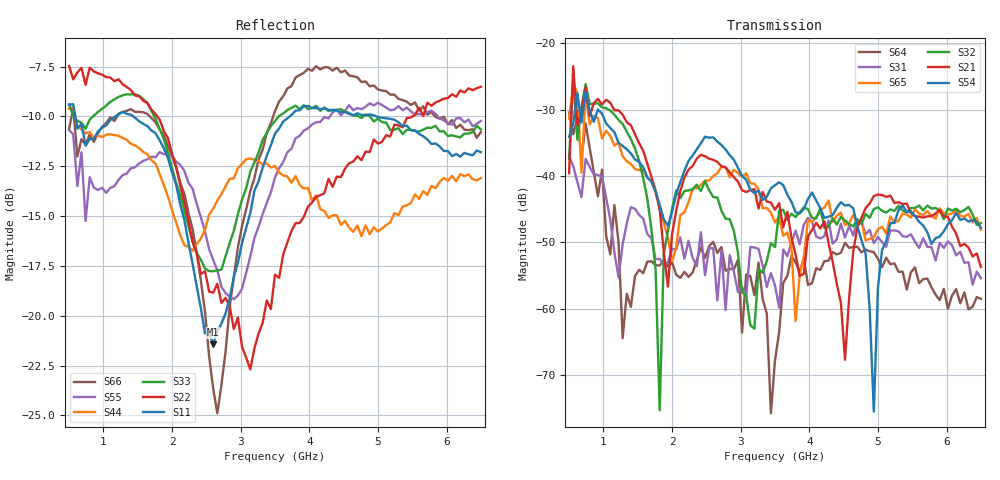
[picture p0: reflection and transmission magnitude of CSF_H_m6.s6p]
!Keysight Technologies,M9804A,MY58100912,A.14.10.03
!Date: Thursday, April 27, 2023 10:28:33
!Correction: S11(C  6-Port  )
!S12(C  6-Port  )
!S13(C  6-Port  )
!S14(C  6-Port  )
!S15(C  6-Port  )
!S16(C  6-Port  )
!S21(C  6-Port  )
!S22(C  6-Port  )
!S23(C  6-Port  )
!S24(C  6-Port  )
!S25(C  6-Port  )
!S26(C  6-Port  )
!S31(C  6-Port  )
!S32(C  6-Port  )
!S33(C  6-Port  )
!S34(C  6-Port  )
!S35(C  6-Port  )
!S36(C  6-Port  )
!S41(C  6-Port  )
!S42(C  6-Port  )
!S43(C  6-Port  )
!S44(C  6-Port  )
!S45(C  6-Port  )
!S46(C  6-Port  )
!S51(C  6-Port  )
!S52(C  6-Port  )
!S53(C  6-Port  )
!S54(C  6-Port  )
!S55(C  6-Port  )
!S56(C  6-Port  )
!S61(C  6-Port  )
!S62(C  6-Port  )
!S63(C  6-Port  )
!S64(C  6-Port  )
!S65(C  6-Port  )
!S66(C  6-Port  )
!S6P File: Measurement: :
# Hz S  RI  R 50
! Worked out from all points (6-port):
!   101 points, 500 MHz to 6.5 GHz, reference 50 ohm
!   strongest paths, dB at 500 MHz, 2 GHz, 3.5 GHz, 5 GHz, 6.5 GHz:
!     S54: -34.1, -45.4, -41.4, -56.9, -47.8
!     S21: -39.6, -48.8, -45.1, -42.8, -53.7
!     S32: -37.4, -44.9, -50.7, -44.7, -47.1
!     S65: -31.4, -52.9, -47.0, -48.0, -48.1
!     S31: -37.1, -51.0, -56.5, -49.2, -55.4
!     S64: -30.4, -53.0, -67.8, -52.5, -58.5
!   lowest |S11| = -21.4 dB at 2.6 GHz (marker M1), VSWR 1.19, Z = 42.5 + j2.17 ohm
!   |S11| at or under -10 dB: 589.8 MHz to 1.176 GHz (585.8 MHz wide, 66.4 % of centre); 1.434 GHz to 3.715 GHz (2.28 GHz wide, 88.6 % of centre); 4.977 GHz to end of sweep
